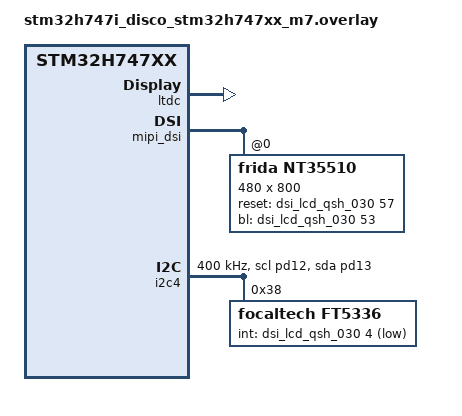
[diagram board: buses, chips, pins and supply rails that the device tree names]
#include <zephyr/dt-bindings/display/panel.h>
#include <zephyr/dt-bindings/gpio/gpio.h>
#include <zephyr/dt-bindings/i2c/i2c.h>
#include <zephyr/dt-bindings/memory-attr/memory-attr-arm.h>
#include <zephyr/dt-bindings/mipi_dsi/mipi_dsi.h>

/ {
	chosen {
		zephyr,display = &ltdc;
		zephyr,touch = &ft5336;
	};
};

&sdram2 {
	/* Frame buffer memory cache will cause screen flickering. */
	zephyr,memory-attr = <( DT_MEM_ARM(ATTR_MPU_RAM_NOCACHE) )>;
};

&ltdc {
	status = "okay";
	ext-sdram = <&sdram2>;
	width = <800>;
	height = <480>;
	def-back-color-red = <0>;
	def-back-color-green = <0>;
	def-back-color-blue = <0>;
	pixel-format = <PANEL_PIXEL_FORMAT_RGB_888>;

	/* frida, nt35510 */
	display-timings {
		compatible = "zephyr,panel-timing";
		hsync-active = <0>;
		vsync-active = <0>;
		de-active = <0>;
		pixelclk-active = <0>;
		hsync-len = <2>;
		vsync-len = <120>;
		hback-porch = <34>;
		vback-porch = <150>;
		hfront-porch = <34>;
		vfront-porch = <150>;
	};
};

/* ltdc uses pll3_r as pixel clock */
&pll3 {
	status = "okay";
	clocks = <&clk_hse>;
	div-m = <5>;
	mul-n = <132>;
	div-p = <2>;
	div-q = <2>;
	div-r = <24>; /* 27.5 MHz */
};

&mipi_dsi {
	status = "okay";

	/* DSI HOST dedicated PLL
	 * F_VCO = CLK_IN / pll-idf * 2 * pll-ndiv
	 * PHI = F_VCO / 2 / (1 << pll-odf) = lane_byte_clk
	 *     = 25 MHz / 5 * 2 * 100 / 2 / (1<<0) / 8 = 62.5 MHz
	 */
	pll-ndiv = <100>;
	pll-idf = <5>;
	pll-odf = <0>;

	vs-active-high;
	hs-active-high;
	de-active-high;

	loosely-packed;
	largest-packet-size = <64>;
	bta-ack-disable;

	nt35510: nt35510@0 {
		status = "okay";
		compatible = "frida,nt35510";
		reg = <0x0>;
		height = <800>;
		width = <480>;
		reset-gpios = <&dsi_lcd_qsh_030 57 GPIO_ACTIVE_HIGH>;
		bl-gpios = <&dsi_lcd_qsh_030 53 GPIO_ACTIVE_HIGH>;
		data-lanes = <2>;
		pixel-format = <MIPI_DSI_PIXFMT_RGB888>;
		rotation = <90>;
	};
};

&i2c4 {
	pinctrl-0 = <&i2c4_scl_pd12 &i2c4_sda_pd13>;
	pinctrl-names = "default";
	clock-frequency = <I2C_BITRATE_FAST>;
	status = "okay";

	ft5336: ft5336@38 {
		compatible = "focaltech,ft5336";
		reg = <0x38>;
		int-gpios = <&dsi_lcd_qsh_030 4 GPIO_ACTIVE_LOW>;
		inverted-y;
		screen-width = <800>;
		screen-height = <480>;
	};
};
